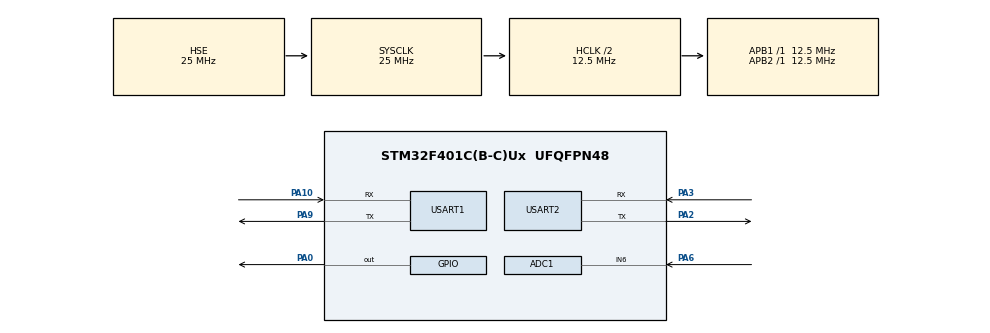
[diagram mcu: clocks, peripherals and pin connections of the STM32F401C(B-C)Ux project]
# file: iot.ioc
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ADC1.Channel-0\#ChannelRegularConversion=ADC_CHANNEL_6
ADC1.ContinuousConvMode=ENABLE
ADC1.NbrOfConversionFlag=1
ADC1.Rank-0\#ChannelRegularConversion=1
ADC1.SamplingTime-0\#ChannelRegularConversion=ADC_SAMPLETIME_3CYCLES
ADC1.master=1
Mcu.Family=STM32F4
Mcu.Name=STM32F401C(B-C)Ux
Mcu.Package=UFQFPN48
NVIC.PriorityGroup=NVIC_PRIORITYGROUP_4
NVIC.USART2_IRQn=true\:0\:0\:false\:false\:true\:true\:true\:true
PA0-WKUP.Signal=GPIO_Output
PA10.Mode=Asynchronous
PA10.Signal=USART1_RX
PA13.Mode=Trace_Asynchronous_SW
PA13.Signal=SYS_JTMS-SWDIO
PA14.Mode=Trace_Asynchronous_SW
PA14.Signal=SYS_JTCK-SWCLK
PA2.Mode=Asynchronous
PA2.Signal=USART2_TX
PA3.Mode=Asynchronous
PA3.Signal=USART2_RX
PA6.Signal=ADCx_IN6
PA9.Mode=Asynchronous
PA9.Signal=USART1_TX
PB3.Mode=Trace_Asynchronous_SW
PB3.Signal=SYS_JTDO-SWO
PH0\ -\ OSC_IN.Mode=HSE-External-Oscillator
PH0\ -\ OSC_IN.Signal=RCC_OSC_IN
PH1\ -\ OSC_OUT.Mode=HSE-External-Oscillator
PH1\ -\ OSC_OUT.Signal=RCC_OSC_OUT
ProjectManager.HeapSize=0x200
ProjectManager.StackSize=0x400
ProjectManager.TargetToolchain=STM32CubeIDE
RCC.48MHZClocksFreq_Value=75000000
RCC.AHBCLKDivider=RCC_SYSCLK_DIV2
RCC.AHBFreq_Value=12500000
RCC.APB1Freq_Value=12500000
RCC.APB1TimFreq_Value=12500000
RCC.APB2Freq_Value=12500000
RCC.APB2TimFreq_Value=12500000
RCC.CortexFreq_Value=12500000
RCC.HCLKFreq_Value=12500000
RCC.HSE_VALUE=25000000
RCC.HSI_VALUE=16000000
RCC.LSE_VALUE=32768
RCC.PLLSourceVirtual=RCC_PLLSOURCE_HSE
RCC.SYSCLKFreq_VALUE=25000000
RCC.SYSCLKSource=RCC_SYSCLKSOURCE_HSE
RCC.VCOOutputFreq_Value=300000000
SH.ADCx_IN6.0=ADC1_IN6,IN6
USART1.VirtualMode=VM_ASYNC
USART2.VirtualMode=VM_ASYNC
board=custom

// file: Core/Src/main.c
/* USER CODE BEGIN Header */
/**
 ******************************************************************************
 * @file           : main.c
 * @brief          : Main program body
 ******************************************************************************
 * @attention
 *
 * Copyright (c) 2024 STMicroelectronics.
 * All rights reserved.
 *
 * This software is licensed under terms that can be found in the LICENSE file
 * in the root directory of this software component.
 * If no LICENSE file comes with this software, it is provided AS-IS.
 *
 ******************************************************************************
 */
/* USER CODE END Header */
#include "main.h"
#include "adc.h"
#include "usart.h"
#include "gpio.h"

/* USER CODE BEGIN Includes */
#include "ECU_ESP_interface.h"
#include "string.h"
#include "stdio.h"
#include "uart_program.h"
/* USER CODE END Includes */

/* USER CODE BEGIN PD */
#define BUFFER_SIZE 600
#define RX_BUFFER_SIZE 256
#define REQUEST_INTERVAL 500 // Interval in milliseconds to request LED status

/* USER CODE END PD */

/* USER CODE BEGIN PV */
uint8_t receivedData[RX_BUFFER_SIZE];
volatile uint32_t lastRequestTime = 0; // Timer for periodic requests
/* USER CODE END PV */

void SystemClock_Config(void);
/* USER CODE BEGIN PFP */
float Get_tempRead(void);

/* USER CODE END PFP */

/* USER CODE BEGIN 0 */

/* Read data from the circular buffer */
/* USER CODE END 0 */

int main(void)
{

	/* MCU Configuration--------------------------------------------------------*/

	/* Reset of all peripherals, Initializes the Flash interface and the Systick. */
	HAL_Init();

	/* Configure the system clock */
	SystemClock_Config();

	/* Initialize all configured peripherals */
	MX_GPIO_Init();
	MX_USART2_UART_Init();
	MX_USART1_UART_Init();
	MX_ADC1_Init();
	/* USER CODE BEGIN 2 */
	ESP_Init();
	UART_Init();

	/* USER CODE END 2 */

	/* Infinite loop */
	while (1)
	{

		/* USER CODE BEGIN 3 */
;		/* Check for periodic request */
		if (HAL_GetTick() - lastRequestTime >= REQUEST_INTERVAL) {
			lastRequestTime = HAL_GetTick(); // Update last request time
			uint8_t read=Get_tempRead();
			ESP_Post_Gas_Value(read);
			ESP_Get_LED_Status(); // Request LED status from the server
		}

		// Check for new data
		// Check for new data
		uint16_t bytesReceived = UART_GetData(receivedData, RX_BUFFER_SIZE);
		if (bytesReceived > 0) {
			// Ensure the received data is null-terminated
			receivedData[bytesReceived] = '\0';

			// Search for "+IPD,1:" in the received data
			char *ipd_position = strstr((char*)receivedData, "+IPD,1:");
			if (ipd_position != NULL) {
				// Move to the character right after "+IPD,1:" to get the content ('0' or '1')
				char content = *(ipd_position + strlen("+IPD,1:"));

				// Check if content is '1' or '0' to set the LED state
				if (content == '1') {
					HAL_GPIO_WritePin(GPIOA, GPIO_PIN_0, GPIO_PIN_SET);  // Turn LED ON
				} else if (content == '0') {
					HAL_GPIO_WritePin(GPIOA, GPIO_PIN_0, GPIO_PIN_RESET);  // Turn LED OFF
				}
			}
		}

	}
	/* USER CODE END 3 */
}

void SystemClock_Config(void)
{
	RCC_OscInitTypeDef RCC_OscInitStruct = {0};
	RCC_ClkInitTypeDef RCC_ClkInitStruct = {0};

	/** Configure the main internal regulator output voltage
	 */
	__HAL_RCC_PWR_CLK_ENABLE();
	__HAL_PWR_VOLTAGESCALING_CONFIG(PWR_REGULATOR_VOLTAGE_SCALE2);

	/** Initializes the RCC Oscillators according to the specified parameters
	 * in the RCC_OscInitTypeDef structure.
	 */
	RCC_OscInitStruct.OscillatorType = RCC_OSCILLATORTYPE_HSE;
	RCC_OscInitStruct.HSEState = RCC_HSE_ON;
	RCC_OscInitStruct.PLL.PLLState = RCC_PLL_NONE;
	if (HAL_RCC_OscConfig(&RCC_OscInitStruct) != HAL_OK)
	{
		Error_Handler();
	}

	/** Initializes the CPU, AHB and APB buses clocks
	 */
	RCC_ClkInitStruct.ClockType = RCC_CLOCKTYPE_HCLK|RCC_CLOCKTYPE_SYSCLK
			|RCC_CLOCKTYPE_PCLK1|RCC_CLOCKTYPE_PCLK2;
	RCC_ClkInitStruct.SYSCLKSource = RCC_SYSCLKSOURCE_HSE;
	RCC_ClkInitStruct.AHBCLKDivider = RCC_SYSCLK_DIV2;
	RCC_ClkInitStruct.APB1CLKDivider = RCC_HCLK_DIV1;
	RCC_ClkInitStruct.APB2CLKDivider = RCC_HCLK_DIV1;

	if (HAL_RCC_ClockConfig(&RCC_ClkInitStruct, FLASH_LATENCY_0) != HAL_OK)
	{
		Error_Handler();
	}
}

/* USER CODE BEGIN 4 */
float Get_tempRead(void) {
	uint32_t adc_value = 0;

	// Start the ADC in Continuous Conversion Mode
	HAL_ADC_Start(&hadc1);

	// Poll for ADC conversion completion continuously
	if (HAL_ADC_PollForConversion(&hadc1, HAL_MAX_DELAY) == HAL_OK) {
		// Read the ADC value
		adc_value = HAL_ADC_GetValue(&hadc1);
	}

	// Convert ADC value to temperature in Celsius
	float temperature = (adc_value * 3.3 / 4096) * 100;
	return temperature;
}

/* USER CODE END 4 */

void Error_Handler(void)
{
	__disable_irq();
	while (1)
	{
	}
}
